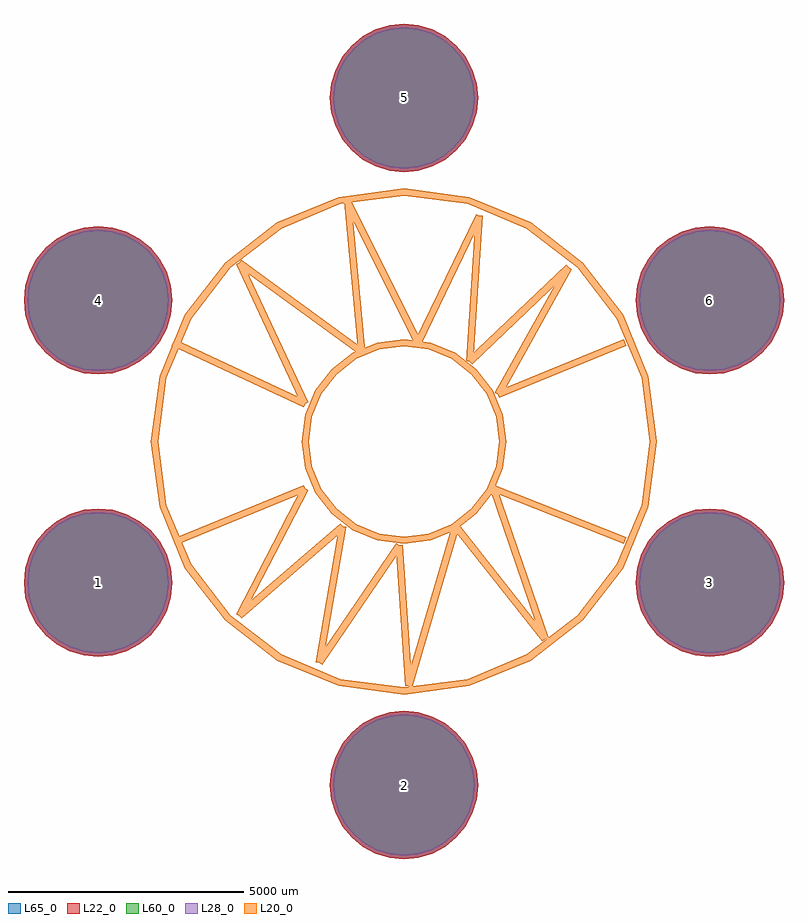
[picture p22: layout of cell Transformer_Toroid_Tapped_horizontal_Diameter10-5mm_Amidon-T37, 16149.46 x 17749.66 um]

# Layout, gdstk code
import gdstk
lib = gdstk.Library(unit=1e-6, precision=1e-09)
def P(c, l, *ps):  # polygons
    for p in ps: c.add(gdstk.Polygon(p, *l))
L20_0 = (20, 0)
L22_0 = (22, 0)
L28_0 = (28, 0)
L60_0 = (60, 0)
L65_0 = (65, 0)

transformer_toroid_tappe = lib.new_cell('Transformer_Toroid_Tapped_horizontal_Diameter10-5mm_Amidon-T37')
P(transformer_toroid_tappe, L22_0, [(1574.87,7299.96),(1544.609,7607.202),(1454.99,7902.637),(1309.457,8174.911),(1113.601,8413.561),(874.951,8609.417),(602.677,8754.95),(307.242,8844.569),(0,8874.83),(-307.242,8844.569),(-602.677,8754.95),(-874.951,8609.417),(-1113.601,8413.561),(-1309.457,8174.911),(-1454.99,7902.637),(-1544.609,7607.202),(-1574.87,7299.96),(-1544.609,6992.718),(-1454.99,6697.283),(-1309.457,6425.009),(-1113.601,6186.359),(-874.951,5990.503),(-602.677,5844.97),(-307.242,5755.351),(0,5725.09),(307.242,5755.351),(602.677,5844.97),(874.951,5990.503),(1113.601,6186.359),(1309.457,6425.009),(1454.99,6697.283),(1544.609,6992.718)],
  [(1574.87,-7299.96),(1544.609,-6992.718),(1454.99,-6697.283),(1309.457,-6425.009),(1113.601,-6186.359),(874.951,-5990.503),(602.677,-5844.97),(307.242,-5755.351),(0,-5725.09),(-307.242,-5755.351),(-602.677,-5844.97),(-874.951,-5990.503),(-1113.601,-6186.359),(-1309.457,-6425.009),(-1454.99,-6697.283),(-1544.609,-6992.718),(-1574.87,-7299.96),(-1544.609,-7607.202),(-1454.99,-7902.637),(-1309.457,-8174.911),(-1113.601,-8413.561),(-874.951,-8609.417),(-602.677,-8754.95),(-307.242,-8844.569),(0,-8874.83),(307.242,-8844.569),(602.677,-8754.95),(874.951,-8609.417),(1113.601,-8413.561),(1309.457,-8174.911),(1454.99,-7902.637),(1544.609,-7607.202)],
  [(8074.73,2999.74),(8044.469,3306.982),(7954.85,3602.417),(7809.317,3874.691),(7613.461,4113.341),(7374.811,4309.197),(7102.537,4454.73),(6807.102,4544.349),(6499.86,4574.61),(6192.618,4544.349),(5897.183,4454.73),(5624.909,4309.197),(5386.259,4113.341),(5190.403,3874.691),(5044.87,3602.417),(4955.251,3306.982),(4924.99,2999.74),(4955.251,2692.498),(5044.87,2397.063),(5190.403,2124.789),(5386.259,1886.139),(5624.909,1690.283),(5897.183,1544.75),(6192.618,1455.131),(6499.86,1424.87),(6807.102,1455.131),(7102.537,1544.75),(7374.811,1690.283),(7613.461,1886.139),(7809.317,2124.789),(7954.85,2397.063),(8044.469,2692.498)],
  [(-4924.99,2999.74),(-4955.251,3306.982),(-5044.87,3602.417),(-5190.403,3874.691),(-5386.259,4113.341),(-5624.909,4309.197),(-5897.183,4454.73),(-6192.618,4544.349),(-6499.86,4574.61),(-6807.102,4544.349),(-7102.537,4454.73),(-7374.811,4309.197),(-7613.461,4113.341),(-7809.317,3874.691),(-7954.85,3602.417),(-8044.469,3306.982),(-8074.73,2999.74),(-8044.469,2692.498),(-7954.85,2397.063),(-7809.317,2124.789),(-7613.461,1886.139),(-7374.811,1690.283),(-7102.537,1544.75),(-6807.102,1455.131),(-6499.86,1424.87),(-6192.618,1455.131),(-5897.183,1544.75),(-5624.909,1690.283),(-5386.259,1886.139),(-5190.403,2124.789),(-5044.87,2397.063),(-4955.251,2692.498)],
  [(8074.73,-2999.74),(8044.469,-2692.498),(7954.85,-2397.063),(7809.317,-2124.789),(7613.461,-1886.139),(7374.811,-1690.283),(7102.537,-1544.75),(6807.102,-1455.131),(6499.86,-1424.87),(6192.618,-1455.131),(5897.183,-1544.75),(5624.909,-1690.283),(5386.259,-1886.139),(5190.403,-2124.789),(5044.87,-2397.063),(4955.251,-2692.498),(4924.99,-2999.74),(4955.251,-3306.982),(5044.87,-3602.417),(5190.403,-3874.691),(5386.259,-4113.341),(5624.909,-4309.197),(5897.183,-4454.73),(6192.618,-4544.349),(6499.86,-4574.61),(6807.102,-4544.349),(7102.537,-4454.73),(7374.811,-4309.197),(7613.461,-4113.341),(7809.317,-3874.691),(7954.85,-3602.417),(8044.469,-3306.982)],
  [(-4924.99,-2999.74),(-4955.251,-2692.498),(-5044.87,-2397.063),(-5190.403,-2124.789),(-5386.259,-1886.139),(-5624.909,-1690.283),(-5897.183,-1544.75),(-6192.618,-1455.131),(-6499.86,-1424.87),(-6807.102,-1455.131),(-7102.537,-1544.75),(-7374.811,-1690.283),(-7613.461,-1886.139),(-7809.317,-2124.789),(-7954.85,-2397.063),(-8044.469,-2692.498),(-8074.73,-2999.74),(-8044.469,-3306.982),(-7954.85,-3602.417),(-7809.317,-3874.691),(-7613.461,-4113.341),(-7374.811,-4309.197),(-7102.537,-4454.73),(-6807.102,-4544.349),(-6499.86,-4574.61),(-6192.618,-4544.349),(-5897.183,-4454.73),(-5624.909,-4309.197),(-5386.259,-4113.341),(-5190.403,-3874.691),(-5044.87,-3602.417),(-4955.251,-3306.982)])
P(transformer_toroid_tappe, L28_0, [(1499.87,7299.96),(1471.05,7592.57),(1385.699,7873.935),(1247.096,8133.243),(1060.568,8360.528),(833.283,8547.056),(573.975,8685.659),(292.61,8771.01),(0,8799.83),(-292.61,8771.01),(-573.975,8685.659),(-833.283,8547.056),(-1060.568,8360.528),(-1247.096,8133.243),(-1385.699,7873.935),(-1471.05,7592.57),(-1499.87,7299.96),(-1471.05,7007.35),(-1385.699,6725.985),(-1247.096,6466.677),(-1060.568,6239.392),(-833.283,6052.864),(-573.975,5914.261),(-292.61,5828.91),(0,5800.09),(292.61,5828.91),(573.975,5914.261),(833.283,6052.864),(1060.568,6239.392),(1247.096,6466.677),(1385.699,6725.985),(1471.05,7007.35)],
  [(1499.87,-7299.96),(1471.05,-7007.35),(1385.699,-6725.985),(1247.096,-6466.677),(1060.568,-6239.392),(833.283,-6052.864),(573.975,-5914.261),(292.61,-5828.91),(0,-5800.09),(-292.61,-5828.91),(-573.975,-5914.261),(-833.283,-6052.864),(-1060.568,-6239.392),(-1247.096,-6466.677),(-1385.699,-6725.985),(-1471.05,-7007.35),(-1499.87,-7299.96),(-1471.05,-7592.57),(-1385.699,-7873.935),(-1247.096,-8133.243),(-1060.568,-8360.528),(-833.283,-8547.056),(-573.975,-8685.659),(-292.61,-8771.01),(0,-8799.83),(292.61,-8771.01),(573.975,-8685.659),(833.283,-8547.056),(1060.568,-8360.528),(1247.096,-8133.243),(1385.699,-7873.935),(1471.05,-7592.57)],
  [(7999.73,2999.74),(7970.91,3292.35),(7885.559,3573.715),(7746.956,3833.023),(7560.428,4060.308),(7333.143,4246.836),(7073.835,4385.439),(6792.47,4470.79),(6499.86,4499.61),(6207.25,4470.79),(5925.885,4385.439),(5666.577,4246.836),(5439.292,4060.308),(5252.764,3833.023),(5114.161,3573.715),(5028.81,3292.35),(4999.99,2999.74),(5028.81,2707.13),(5114.161,2425.765),(5252.764,2166.457),(5439.292,1939.172),(5666.577,1752.644),(5925.885,1614.041),(6207.25,1528.69),(6499.86,1499.87),(6792.47,1528.69),(7073.835,1614.041),(7333.143,1752.644),(7560.428,1939.172),(7746.956,2166.457),(7885.559,2425.765),(7970.91,2707.13)],
  [(-4999.99,2999.74),(-5028.81,3292.35),(-5114.161,3573.715),(-5252.764,3833.023),(-5439.292,4060.308),(-5666.577,4246.836),(-5925.885,4385.439),(-6207.25,4470.79),(-6499.86,4499.61),(-6792.47,4470.79),(-7073.835,4385.439),(-7333.143,4246.836),(-7560.428,4060.308),(-7746.956,3833.023),(-7885.559,3573.715),(-7970.91,3292.35),(-7999.73,2999.74),(-7970.91,2707.13),(-7885.559,2425.765),(-7746.956,2166.457),(-7560.428,1939.172),(-7333.143,1752.644),(-7073.835,1614.041),(-6792.47,1528.69),(-6499.86,1499.87),(-6207.25,1528.69),(-5925.885,1614.041),(-5666.577,1752.644),(-5439.292,1939.172),(-5252.764,2166.457),(-5114.161,2425.765),(-5028.81,2707.13)],
  [(7999.73,-2999.74),(7970.91,-2707.13),(7885.559,-2425.765),(7746.956,-2166.457),(7560.428,-1939.172),(7333.143,-1752.644),(7073.835,-1614.041),(6792.47,-1528.69),(6499.86,-1499.87),(6207.25,-1528.69),(5925.885,-1614.041),(5666.577,-1752.644),(5439.292,-1939.172),(5252.764,-2166.457),(5114.161,-2425.765),(5028.81,-2707.13),(4999.99,-2999.74),(5028.81,-3292.35),(5114.161,-3573.715),(5252.764,-3833.023),(5439.292,-4060.308),(5666.577,-4246.836),(5925.885,-4385.439),(6207.25,-4470.79),(6499.86,-4499.61),(6792.47,-4470.79),(7073.835,-4385.439),(7333.143,-4246.836),(7560.428,-4060.308),(7746.956,-3833.023),(7885.559,-3573.715),(7970.91,-3292.35)],
  [(-4999.99,-2999.74),(-5028.81,-2707.13),(-5114.161,-2425.765),(-5252.764,-2166.457),(-5439.292,-1939.172),(-5666.577,-1752.644),(-5925.885,-1614.041),(-6207.25,-1528.69),(-6499.86,-1499.87),(-6792.47,-1528.69),(-7073.835,-1614.041),(-7333.143,-1752.644),(-7560.428,-1939.172),(-7746.956,-2166.457),(-7885.559,-2425.765),(-7970.91,-2707.13),(-7999.73,-2999.74),(-7970.91,-3292.35),(-7885.559,-3573.715),(-7746.956,-3833.023),(-7560.428,-4060.308),(-7333.143,-4246.836),(-7073.835,-4385.439),(-6792.47,-4470.79),(-6499.86,-4499.61),(-6207.25,-4470.79),(-5925.885,-4385.439),(-5666.577,-4246.836),(-5439.292,-4060.308),(-5252.764,-3833.023),(-5114.161,-3573.715),(-5028.81,-3292.35)])
P(transformer_toroid_tappe, L60_0, [(1499.87,7299.96),(1471.05,7592.57),(1385.699,7873.935),(1247.096,8133.243),(1060.568,8360.528),(833.283,8547.056),(573.975,8685.659),(292.61,8771.01),(0,8799.83),(-292.61,8771.01),(-573.975,8685.659),(-833.283,8547.056),(-1060.568,8360.528),(-1247.096,8133.243),(-1385.699,7873.935),(-1471.05,7592.57),(-1499.87,7299.96),(-1471.05,7007.35),(-1385.699,6725.985),(-1247.096,6466.677),(-1060.568,6239.392),(-833.283,6052.864),(-573.975,5914.261),(-292.61,5828.91),(0,5800.09),(292.61,5828.91),(573.975,5914.261),(833.283,6052.864),(1060.568,6239.392),(1247.096,6466.677),(1385.699,6725.985),(1471.05,7007.35)],
  [(1499.87,-7299.96),(1471.05,-7007.35),(1385.699,-6725.985),(1247.096,-6466.677),(1060.568,-6239.392),(833.283,-6052.864),(573.975,-5914.261),(292.61,-5828.91),(0,-5800.09),(-292.61,-5828.91),(-573.975,-5914.261),(-833.283,-6052.864),(-1060.568,-6239.392),(-1247.096,-6466.677),(-1385.699,-6725.985),(-1471.05,-7007.35),(-1499.87,-7299.96),(-1471.05,-7592.57),(-1385.699,-7873.935),(-1247.096,-8133.243),(-1060.568,-8360.528),(-833.283,-8547.056),(-573.975,-8685.659),(-292.61,-8771.01),(0,-8799.83),(292.61,-8771.01),(573.975,-8685.659),(833.283,-8547.056),(1060.568,-8360.528),(1247.096,-8133.243),(1385.699,-7873.935),(1471.05,-7592.57)],
  [(7999.73,2999.74),(7970.91,3292.35),(7885.559,3573.715),(7746.956,3833.023),(7560.428,4060.308),(7333.143,4246.836),(7073.835,4385.439),(6792.47,4470.79),(6499.86,4499.61),(6207.25,4470.79),(5925.885,4385.439),(5666.577,4246.836),(5439.292,4060.308),(5252.764,3833.023),(5114.161,3573.715),(5028.81,3292.35),(4999.99,2999.74),(5028.81,2707.13),(5114.161,2425.765),(5252.764,2166.457),(5439.292,1939.172),(5666.577,1752.644),(5925.885,1614.041),(6207.25,1528.69),(6499.86,1499.87),(6792.47,1528.69),(7073.835,1614.041),(7333.143,1752.644),(7560.428,1939.172),(7746.956,2166.457),(7885.559,2425.765),(7970.91,2707.13)],
  [(-4999.99,2999.74),(-5028.81,3292.35),(-5114.161,3573.715),(-5252.764,3833.023),(-5439.292,4060.308),(-5666.577,4246.836),(-5925.885,4385.439),(-6207.25,4470.79),(-6499.86,4499.61),(-6792.47,4470.79),(-7073.835,4385.439),(-7333.143,4246.836),(-7560.428,4060.308),(-7746.956,3833.023),(-7885.559,3573.715),(-7970.91,3292.35),(-7999.73,2999.74),(-7970.91,2707.13),(-7885.559,2425.765),(-7746.956,2166.457),(-7560.428,1939.172),(-7333.143,1752.644),(-7073.835,1614.041),(-6792.47,1528.69),(-6499.86,1499.87),(-6207.25,1528.69),(-5925.885,1614.041),(-5666.577,1752.644),(-5439.292,1939.172),(-5252.764,2166.457),(-5114.161,2425.765),(-5028.81,2707.13)],
  [(7999.73,-2999.74),(7970.91,-2707.13),(7885.559,-2425.765),(7746.956,-2166.457),(7560.428,-1939.172),(7333.143,-1752.644),(7073.835,-1614.041),(6792.47,-1528.69),(6499.86,-1499.87),(6207.25,-1528.69),(5925.885,-1614.041),(5666.577,-1752.644),(5439.292,-1939.172),(5252.764,-2166.457),(5114.161,-2425.765),(5028.81,-2707.13),(4999.99,-2999.74),(5028.81,-3292.35),(5114.161,-3573.715),(5252.764,-3833.023),(5439.292,-4060.308),(5666.577,-4246.836),(5925.885,-4385.439),(6207.25,-4470.79),(6499.86,-4499.61),(6792.47,-4470.79),(7073.835,-4385.439),(7333.143,-4246.836),(7560.428,-4060.308),(7746.956,-3833.023),(7885.559,-3573.715),(7970.91,-3292.35)],
  [(-4999.99,-2999.74),(-5028.81,-2707.13),(-5114.161,-2425.765),(-5252.764,-2166.457),(-5439.292,-1939.172),(-5666.577,-1752.644),(-5925.885,-1614.041),(-6207.25,-1528.69),(-6499.86,-1499.87),(-6792.47,-1528.69),(-7073.835,-1614.041),(-7333.143,-1752.644),(-7560.428,-1939.172),(-7746.956,-2166.457),(-7885.559,-2425.765),(-7970.91,-2707.13),(-7999.73,-2999.74),(-7970.91,-3292.35),(-7885.559,-3573.715),(-7746.956,-3833.023),(-7560.428,-4060.308),(-7333.143,-4246.836),(-7073.835,-4385.439),(-6792.47,-4470.79),(-6499.86,-4499.61),(-6207.25,-4470.79),(-5925.885,-4385.439),(-5666.577,-4246.836),(-5439.292,-4060.308),(-5252.764,-3833.023),(-5114.161,-3573.715),(-5028.81,-3292.35)])
P(transformer_toroid_tappe, L65_0, [(1574.87,7299.96),(1544.609,7607.202),(1454.99,7902.637),(1309.457,8174.911),(1113.601,8413.561),(874.951,8609.417),(602.677,8754.95),(307.242,8844.569),(0,8874.83),(-307.242,8844.569),(-602.677,8754.95),(-874.951,8609.417),(-1113.601,8413.561),(-1309.457,8174.911),(-1454.99,7902.637),(-1544.609,7607.202),(-1574.87,7299.96),(-1544.609,6992.718),(-1454.99,6697.283),(-1309.457,6425.009),(-1113.601,6186.359),(-874.951,5990.503),(-602.677,5844.97),(-307.242,5755.351),(0,5725.09),(307.242,5755.351),(602.677,5844.97),(874.951,5990.503),(1113.601,6186.359),(1309.457,6425.009),(1454.99,6697.283),(1544.609,6992.718)],
  [(1574.87,-7299.96),(1544.609,-6992.718),(1454.99,-6697.283),(1309.457,-6425.009),(1113.601,-6186.359),(874.951,-5990.503),(602.677,-5844.97),(307.242,-5755.351),(0,-5725.09),(-307.242,-5755.351),(-602.677,-5844.97),(-874.951,-5990.503),(-1113.601,-6186.359),(-1309.457,-6425.009),(-1454.99,-6697.283),(-1544.609,-6992.718),(-1574.87,-7299.96),(-1544.609,-7607.202),(-1454.99,-7902.637),(-1309.457,-8174.911),(-1113.601,-8413.561),(-874.951,-8609.417),(-602.677,-8754.95),(-307.242,-8844.569),(0,-8874.83),(307.242,-8844.569),(602.677,-8754.95),(874.951,-8609.417),(1113.601,-8413.561),(1309.457,-8174.911),(1454.99,-7902.637),(1544.609,-7607.202)],
  [(8074.73,2999.74),(8044.469,3306.982),(7954.85,3602.417),(7809.317,3874.691),(7613.461,4113.341),(7374.811,4309.197),(7102.537,4454.73),(6807.102,4544.349),(6499.86,4574.61),(6192.618,4544.349),(5897.183,4454.73),(5624.909,4309.197),(5386.259,4113.341),(5190.403,3874.691),(5044.87,3602.417),(4955.251,3306.982),(4924.99,2999.74),(4955.251,2692.498),(5044.87,2397.063),(5190.403,2124.789),(5386.259,1886.139),(5624.909,1690.283),(5897.183,1544.75),(6192.618,1455.131),(6499.86,1424.87),(6807.102,1455.131),(7102.537,1544.75),(7374.811,1690.283),(7613.461,1886.139),(7809.317,2124.789),(7954.85,2397.063),(8044.469,2692.498)],
  [(-4924.99,2999.74),(-4955.251,3306.982),(-5044.87,3602.417),(-5190.403,3874.691),(-5386.259,4113.341),(-5624.909,4309.197),(-5897.183,4454.73),(-6192.618,4544.349),(-6499.86,4574.61),(-6807.102,4544.349),(-7102.537,4454.73),(-7374.811,4309.197),(-7613.461,4113.341),(-7809.317,3874.691),(-7954.85,3602.417),(-8044.469,3306.982),(-8074.73,2999.74),(-8044.469,2692.498),(-7954.85,2397.063),(-7809.317,2124.789),(-7613.461,1886.139),(-7374.811,1690.283),(-7102.537,1544.75),(-6807.102,1455.131),(-6499.86,1424.87),(-6192.618,1455.131),(-5897.183,1544.75),(-5624.909,1690.283),(-5386.259,1886.139),(-5190.403,2124.789),(-5044.87,2397.063),(-4955.251,2692.498)],
  [(8074.73,-2999.74),(8044.469,-2692.498),(7954.85,-2397.063),(7809.317,-2124.789),(7613.461,-1886.139),(7374.811,-1690.283),(7102.537,-1544.75),(6807.102,-1455.131),(6499.86,-1424.87),(6192.618,-1455.131),(5897.183,-1544.75),(5624.909,-1690.283),(5386.259,-1886.139),(5190.403,-2124.789),(5044.87,-2397.063),(4955.251,-2692.498),(4924.99,-2999.74),(4955.251,-3306.982),(5044.87,-3602.417),(5190.403,-3874.691),(5386.259,-4113.341),(5624.909,-4309.197),(5897.183,-4454.73),(6192.618,-4544.349),(6499.86,-4574.61),(6807.102,-4544.349),(7102.537,-4454.73),(7374.811,-4309.197),(7613.461,-4113.341),(7809.317,-3874.691),(7954.85,-3602.417),(8044.469,-3306.982)],
  [(-4924.99,-2999.74),(-4955.251,-2692.498),(-5044.87,-2397.063),(-5190.403,-2124.789),(-5386.259,-1886.139),(-5624.909,-1690.283),(-5897.183,-1544.75),(-6192.618,-1455.131),(-6499.86,-1424.87),(-6807.102,-1455.131),(-7102.537,-1544.75),(-7374.811,-1690.283),(-7613.461,-1886.139),(-7809.317,-2124.789),(-7954.85,-2397.063),(-8044.469,-2692.498),(-8074.73,-2999.74),(-8044.469,-3306.982),(-7954.85,-3602.417),(-7809.317,-3874.691),(-7613.461,-4113.341),(-7374.811,-4309.197),(-7102.537,-4454.73),(-6807.102,-4544.349),(-6499.86,-4574.61),(-6192.618,-4544.349),(-5897.183,-4454.73),(-5624.909,-4309.197),(-5386.259,-4113.341),(-5190.403,-3874.691),(-5044.87,-3602.417),(-4955.251,-3306.982)])
transformer_toroid_tappe.add(gdstk.FlexPath([(5300.98,0),(5120.353,1371.995),(4590.783,2650.49),(3748.359,3748.359),(2650.49,4590.783),(1371.995,5120.353),(0,5300.98),(-1371.995,5120.353),(-2650.49,4590.783),(-3748.359,3748.359),(-4590.783,2650.49),(-5120.353,1371.995),(-5300.98,0),(-5120.353,-1371.995),(-4590.783,-2650.49),(-3748.359,-3748.359),(-2650.49,-4590.783),(-1371.995,-5120.353),(0,-5300.98),(1371.995,-5120.353),(2650.49,-4590.783),(3748.359,-3748.359),(4590.783,-2650.49),(5120.353,-1371.995),(5300.98,0)], 149.998, ends="flush", simple_path=True, layer=20, datatype=0))  # L20_0
transformer_toroid_tappe.add(gdstk.FlexPath([(2100.58,0),(2029.004,543.67),(1819.156,1050.29),(1485.334,1485.334),(1050.29,1819.156),(543.67,2029.004),(0,2100.58),(-543.67,2029.004),(-1050.29,1819.156),(-1485.334,1485.334),(-1819.156,1050.29),(-2029.004,543.67),(-2100.58,0),(-2029.004,-543.67),(-1819.156,-1050.29),(-1485.334,-1485.334),(-1050.29,-1819.156),(-543.67,-2029.004),(0,-2100.58),(543.67,-2029.004),(1050.29,-1819.156),(1485.334,-1485.334),(1819.156,-1050.29),(2029.004,-543.67),(2100.58,0)], 149.998, ends="flush", simple_path=True, layer=20, datatype=0))  # L20_0
transformer_toroid_tappe.add(gdstk.FlexPath([(1998.98,1000.76),(4699,2100.58)], 149.998, ends="flush", simple_path=True, layer=20, datatype=0))  # L20_0
transformer_toroid_tappe.add(gdstk.FlexPath([(3500.12,3700.78),(1998.98,1000.76)], 149.998, ends="flush", simple_path=True, layer=20, datatype=0))  # L20_0
transformer_toroid_tappe.add(gdstk.FlexPath([(1399.54,1699.26),(3500.12,3700.78)], 149.998, ends="flush", simple_path=True, layer=20, datatype=0))  # L20_0
transformer_toroid_tappe.add(gdstk.FlexPath([(1600.2,4800.6),(1399.54,1699.26)], 149.998, ends="flush", simple_path=True, layer=20, datatype=0))  # L20_0
transformer_toroid_tappe.add(gdstk.FlexPath([(299.72,2100.58),(1600.2,4800.6)], 149.998, ends="flush", simple_path=True, layer=20, datatype=0))  # L20_0
transformer_toroid_tappe.add(gdstk.FlexPath([(-1198.88,5100.32),(299.72,2100.58)], 149.998, ends="flush", simple_path=True, layer=20, datatype=0))  # L20_0
transformer_toroid_tappe.add(gdstk.FlexPath([(-899.16,1899.92),(-1198.88,5100.32)], 149.998, ends="flush", simple_path=True, layer=20, datatype=0))  # L20_0
transformer_toroid_tappe.add(gdstk.FlexPath([(-3500.12,3799.84),(-899.16,1899.92)], 149.998, ends="flush", simple_path=True, layer=20, datatype=0))  # L20_0
transformer_toroid_tappe.add(gdstk.FlexPath([(-2100.58,800.1),(-3500.12,3799.84)], 149.998, ends="flush", simple_path=True, layer=20, datatype=0))  # L20_0
transformer_toroid_tappe.add(gdstk.FlexPath([(-4899.66,2100.58),(-2100.58,800.1)], 149.998, ends="flush", simple_path=True, layer=20, datatype=0))  # L20_0
transformer_toroid_tappe.add(gdstk.FlexPath([(1899.92,-1000.76),(4699,-2100.58)], 149.998, ends="flush", simple_path=True, layer=20, datatype=0))  # L20_0
transformer_toroid_tappe.add(gdstk.FlexPath([(2999.74,-4201.16),(1899.92,-1000.76)], 149.998, ends="flush", simple_path=True, layer=20, datatype=0))  # L20_0
transformer_toroid_tappe.add(gdstk.FlexPath([(1099.82,-1800.86),(2999.74,-4201.16)], 149.998, ends="flush", simple_path=True, layer=20, datatype=0))  # L20_0
transformer_toroid_tappe.add(gdstk.FlexPath([(99.06,-5199.38),(1099.82,-1800.86)], 149.998, ends="flush", simple_path=True, layer=20, datatype=0))  # L20_0
transformer_toroid_tappe.add(gdstk.FlexPath([(-99.06,-2199.64),(99.06,-5199.38)], 149.998, ends="flush", simple_path=True, layer=20, datatype=0))  # L20_0
transformer_toroid_tappe.add(gdstk.FlexPath([(-1800.86,-4699),(-99.06,-2199.64)], 149.998, ends="flush", simple_path=True, layer=20, datatype=0))  # L20_0
transformer_toroid_tappe.add(gdstk.FlexPath([(-1300.48,-1800.86),(-1800.86,-4699)], 149.998, ends="flush", simple_path=True, layer=20, datatype=0))  # L20_0
transformer_toroid_tappe.add(gdstk.FlexPath([(-3500.12,-3700.78),(-1300.48,-1800.86)], 149.998, ends="flush", simple_path=True, layer=20, datatype=0))  # L20_0
transformer_toroid_tappe.add(gdstk.FlexPath([(-2100.58,-1000.76),(-3500.12,-3700.78)], 149.998, ends="flush", simple_path=True, layer=20, datatype=0))  # L20_0
transformer_toroid_tappe.add(gdstk.FlexPath([(-4800.6,-2100.58),(-2100.58,-1000.76)], 149.998, ends="flush", simple_path=True, layer=20, datatype=0))  # L20_0
transformer_toroid_tappe.add(gdstk.Label('5', (0,7299.96), layer=28, texttype=0))
transformer_toroid_tappe.add(gdstk.Label('2', (0,-7299.96), layer=28, texttype=0))
transformer_toroid_tappe.add(gdstk.Label('6', (6499.86,2999.74), layer=28, texttype=0))
transformer_toroid_tappe.add(gdstk.Label('4', (-6499.86,2999.74), layer=28, texttype=0))
transformer_toroid_tappe.add(gdstk.Label('3', (6499.86,-2999.74), layer=28, texttype=0))
transformer_toroid_tappe.add(gdstk.Label('1', (-6499.86,-2999.74), layer=28, texttype=0))
transformer_toroid_tappe.add(gdstk.Label('type', (1270,-11430), layer=9, texttype=0))
transformer_toroid_tappe.add(gdstk.Label('devicename', (0,11430), layer=9, texttype=0))

lib.write_gds('Transformer_Toroid_Tapped_horizontal_Diameter10-5mm_Amidon-T37.gds')
